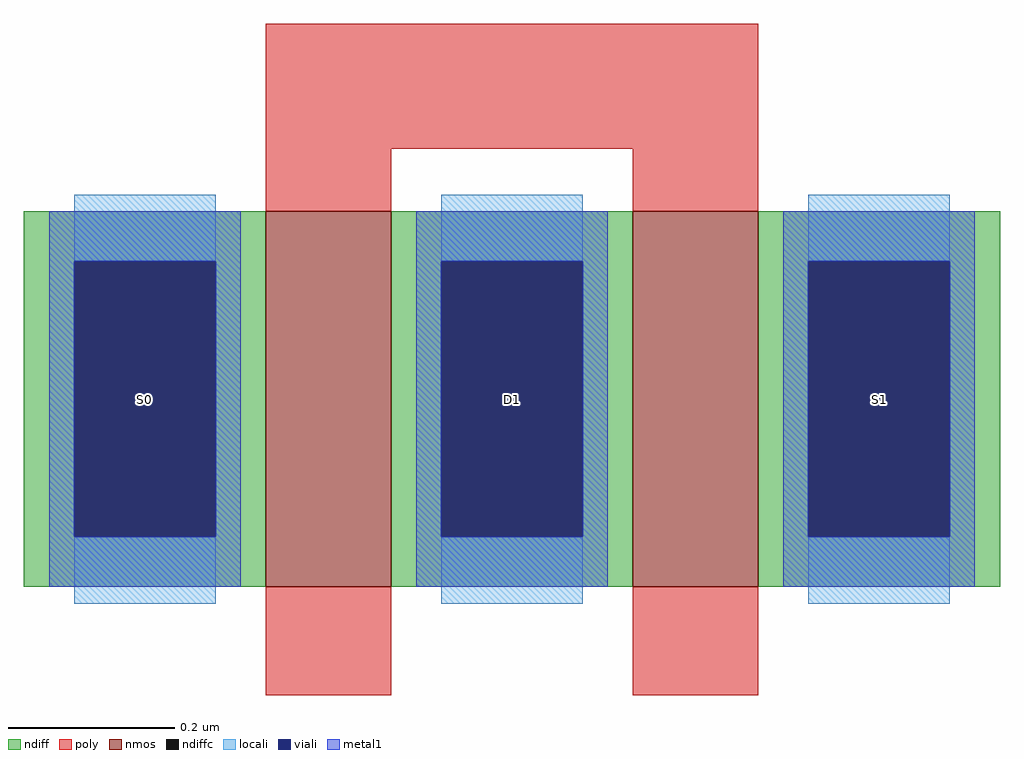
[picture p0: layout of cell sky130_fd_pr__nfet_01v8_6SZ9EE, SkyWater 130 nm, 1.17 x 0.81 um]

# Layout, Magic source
magic
tech sky130A
magscale 1 2
<< nmos >>
rect -103 47 -73 137
rect -15 47 15 137
<< ndiff >>
rect -161 125 -103 137
rect -161 59 -149 125
rect -115 59 -103 125
rect -161 47 -103 59
rect -73 125 -15 137
rect -73 59 -61 125
rect -27 59 -15 125
rect -73 47 -15 59
rect 15 125 73 137
rect 15 59 27 125
rect 61 59 73 125
rect 15 47 73 59
<< ndiffc >>
rect -149 59 -115 125
rect -61 59 -27 125
rect 27 59 61 125
<< poly >>
rect -103 152 15 182
rect -103 137 -73 152
rect -15 137 15 152
rect -103 21 -73 47
rect -15 21 15 47
<< locali >>
rect -149 125 -115 141
rect -149 43 -115 59
rect -61 125 -27 141
rect -61 43 -27 59
rect 27 125 61 141
rect 27 43 61 59
<< viali >>
rect -149 59 -115 125
rect -61 59 -27 125
rect 27 59 61 125
<< metal1 >>
rect -155 125 -109 137
rect -155 59 -149 125
rect -115 59 -109 125
rect -155 47 -109 59
rect -67 125 -21 137
rect -67 59 -61 125
rect -27 59 -21 125
rect -67 47 -21 59
rect 21 125 67 137
rect 21 59 27 125
rect 61 59 67 125
rect 21 47 67 59
<< labels >>
rlabel ndiffc -44 92 -44 92 0 D1
port 3 nsew
rlabel ndiffc 44 92 44 92 0 S1
port 4 nsew
rlabel ndiffc -44 92 -44 92 0 D0
port 1 nsew
rlabel ndiffc -132 92 -132 92 0 S0
port 2 nsew
<< properties >>
string gencell sky130_fd_pr__nfet_01v8
string library sky130
string parameters w 0.45 l 0.15 m 2 nf 1 diffcov 100 polycov 100 guard 0 glc 0 grc 0 gtc 0 gbc 0 tbcov 100 rlcov 100 topc 0 botc 0 poverlap 0 doverlap 0 lmin 0.15 wmin 0.42 class mosfet compatible {sky130_fd_pr__nfet_01v8 sky130_fd_pr__nfet_01v8_lvt  sky130_fd_bs_flash__special_sonosfet_star  sky130_fd_pr__nfet_g5v0d10v5 sky130_fd_pr__nfet_05v0_nvt  sky130_fd_pr__nfet_03v3_nvt} full_metal 0 viasrc 100 viadrn 100 viagate 100 viagb 0 viagr 0 viagl 0 viagt 0 doports 1
<< end >>
